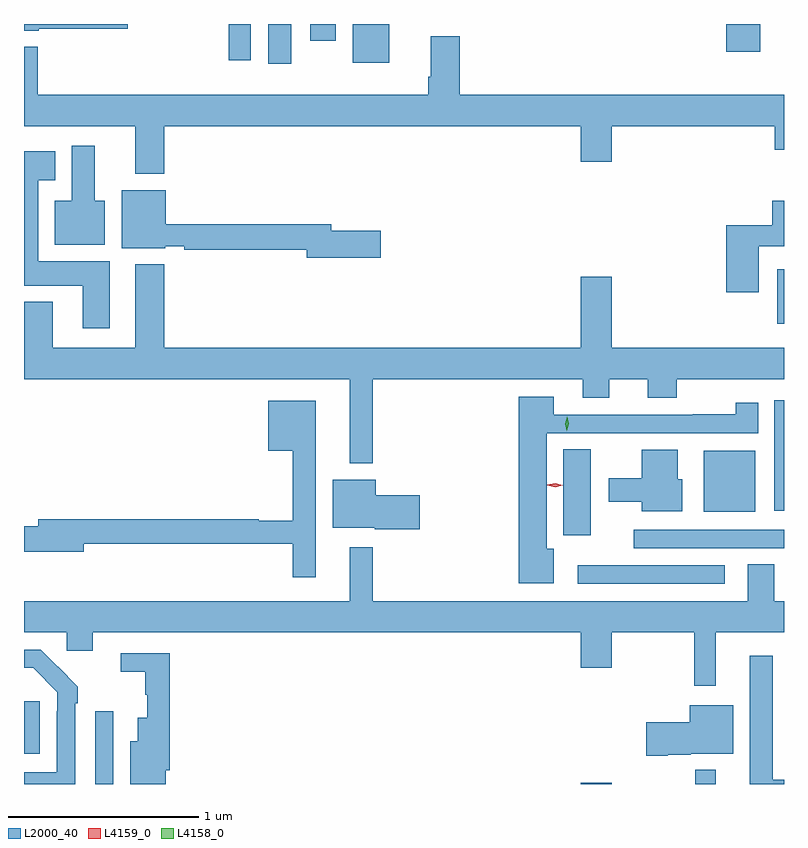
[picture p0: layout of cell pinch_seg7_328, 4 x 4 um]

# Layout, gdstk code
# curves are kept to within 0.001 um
import gdstk
lib = gdstk.Library(unit=1e-6, precision=1e-09)
def R(c, l, rs):  # rectangles x0, y0, x1, y1
    for r in rs: c.add(gdstk.rectangle(r[:2], r[2:], *l))
def P(c, l, *ps):  # polygons
    for p in ps: c.add(gdstk.Polygon(p, *l))
L2000_40 = (2000, 40)
L4158_0 = (4158, 0)
L4159_0 = (4159, 0)

pinch_seg7_328 = lib.new_cell('pinch_seg7_328')
R(pinch_seg7_328, L2000_40, [(378.237,1042.441,378.333,1042.825), (380.792,1042.441,380.956,1042.447), (381.395,1042.441,381.505,1042.516), (377.863,1042.601,377.947,1042.876), (380.778,1043.496,381.55,1043.592), (381.072,1043.682,381.863,1043.778), (380.702,1043.751,380.845,1044.203), (381.44,1043.873,381.712,1044.196), (381.812,1043.879,381.863,1044.46), (381.827,1044.864,381.863,1045.15), (379.148,1046.232,379.27,1046.441), (379.592,1046.237,379.786,1046.441), (378.94,1046.25,379.056,1046.441), (381.56,1046.295,381.738,1046.441), (379.37,1046.352,379.504,1046.441)])
P(pinch_seg7_328, L2000_40, [(377.94,1046.416),(378.409,1046.416),(378.409,1046.441),(377.863,1046.441),(377.863,1046.405),(377.94,1046.405)],
  [(378.602,1045.904),(380.792,1045.904),(380.792,1045.716),(380.956,1045.716),(380.956,1045.904),(381.815,1045.904),(381.815,1045.78),(381.863,1045.78),(381.863,1046.068),(380.156,1046.068),(380.156,1046.377),(380.003,1046.377),(380.003,1046.164),(379.991,1046.164),(379.991,1046.068),(377.936,1046.068),(377.936,1046.32),(377.863,1046.32),(377.863,1045.904),(378.449,1045.904),(378.449,1045.652),(378.602,1045.652)],
  [(378.289,1045.51),(378.235,1045.51),(378.235,1045.801),(378.113,1045.801),(378.113,1045.51),(378.026,1045.51),(378.026,1045.28),(378.289,1045.28)],
  [(378.313,1045.192),(377.938,1045.192),(377.938,1045.619),(378.028,1045.619),(378.028,1045.771),(377.863,1045.771),(377.863,1045.064),(378.173,1045.064),(378.173,1044.84),(378.313,1044.84)],
  [(379.741,1045.352),(379.48,1045.352),(379.48,1045.388),(378.61,1045.388),(378.61,1045.567),(378.377,1045.567),(378.377,1045.262),(378.606,1045.262),(378.606,1045.272),(378.706,1045.272),(378.706,1045.252),(379.352,1045.252),(379.352,1045.21),(379.741,1045.21)],
  [(381.73,1045.271),(381.863,1045.271),(381.863,1045.51),(381.8,1045.51),(381.8,1045.381),(381.56,1045.381),(381.56,1045.029),(381.73,1045.029)],
  [(379.577,1044.128),(379.699,1044.128),(379.699,1044.572),(380.804,1044.572),(380.804,1044.473),(380.944,1044.473),(380.944,1044.572),(381.146,1044.572),(381.146,1044.473),(381.299,1044.473),(381.299,1044.572),(381.863,1044.572),(381.863,1044.736),(380.956,1044.736),(380.956,1045.111),(380.792,1045.111),(380.792,1044.736),(378.602,1044.736),(378.602,1045.177),(378.449,1045.177),(378.449,1044.736),(378.013,1044.736),(378.013,1044.979),(377.863,1044.979),(377.863,1044.572),(379.577,1044.572)],
  [(380.65,1043.68),(380.614,1043.68),(380.614,1044.288),(381.727,1044.288),(381.727,1044.448),(381.61,1044.448),(381.61,1044.386),(381.382,1044.386),(381.382,1044.384),(380.65,1044.384),(380.65,1044.478),(380.468,1044.478),(380.468,1043.498),(380.65,1043.498)],
  [(379.399,1044.457),(379.148,1044.457),(379.148,1044.194),(379.278,1044.194),(379.278,1043.827),(379.099,1043.827),(379.099,1043.834),(377.939,1043.834),(377.939,1043.798),(377.863,1043.798),(377.863,1043.663),(378.178,1043.663),(378.178,1043.706),(379.278,1043.706),(379.278,1043.529),(379.399,1043.529)],
  [(381.328,1044.045),(381.304,1044.045),(381.304,1044.199),(381.113,1044.199),(381.113,1044.049),(380.94,1044.049),(380.94,1043.927),(381.113,1043.927),(381.113,1043.876),(381.328,1043.876)],
  [(379.945,1043.96),(379.714,1043.96),(379.714,1044.043),(379.487,1044.043),(379.487,1043.789),(379.71,1043.789),(379.71,1043.782),(379.945,1043.782)],
  [(381.505,1043.24),(381.863,1043.24),(381.863,1043.404),(381.811,1043.404),(381.811,1043.597),(381.671,1043.597),(381.671,1043.404),(379.699,1043.404),(379.699,1043.686),(379.577,1043.686),(379.577,1043.404),(377.863,1043.404),(377.863,1043.24),(378.087,1043.24),(378.087,1043.142),(378.226,1043.142),(378.226,1043.24),(380.792,1043.24),(380.792,1043.052),(380.956,1043.052),(380.956,1043.24),(381.391,1043.24),(381.391,1042.959),(381.505,1042.959)],
  [(378.132,1042.865),(378.147,1042.865),(378.147,1042.953),(377.95,1043.148),(377.863,1043.148),(377.863,1043.052),(377.911,1043.052),(378.039,1042.923),(378.039,1042.823),(378.036,1042.823),(378.036,1042.503),(377.863,1042.503),(377.863,1042.441),(378.132,1042.441)],
  [(378.61,1042.513),(378.629,1042.513),(378.629,1043.13),(378.372,1043.13),(378.372,1043.032),(378.501,1043.032),(378.501,1042.911),(378.512,1042.911),(378.512,1042.789),(378.461,1042.789),(378.461,1042.666),(378.422,1042.666),(378.422,1042.441),(378.61,1042.441)],
  [(381.863,1042.463),(381.805,1042.463),(381.805,1043.116),(381.683,1043.116),(381.683,1042.441),(381.863,1042.441)],
  [(381.25,1042.594),(381.372,1042.594),(381.372,1042.601),(381.595,1042.601),(381.595,1042.855),(381.368,1042.855),(381.368,1042.767),(381.138,1042.767),(381.138,1042.589),(381.25,1042.589)])
P(pinch_seg7_328, L4158_0, [(380.72,1044.301),(380.72,1044.301),(380.711,1044.338),(380.722,1044.373),(380.722,1044.373),(380.723,1044.373),(380.731,1044.337),(380.72,1044.301)])
P(pinch_seg7_328, L4159_0, [(380.658,1044.004),(380.618,1044.014),(380.617,1044.015),(380.618,1044.015),(380.658,1044.024),(380.699,1044.013),(380.699,1044.013),(380.699,1044.013)])

lib.write_gds('pinch_seg7_328.gds')
